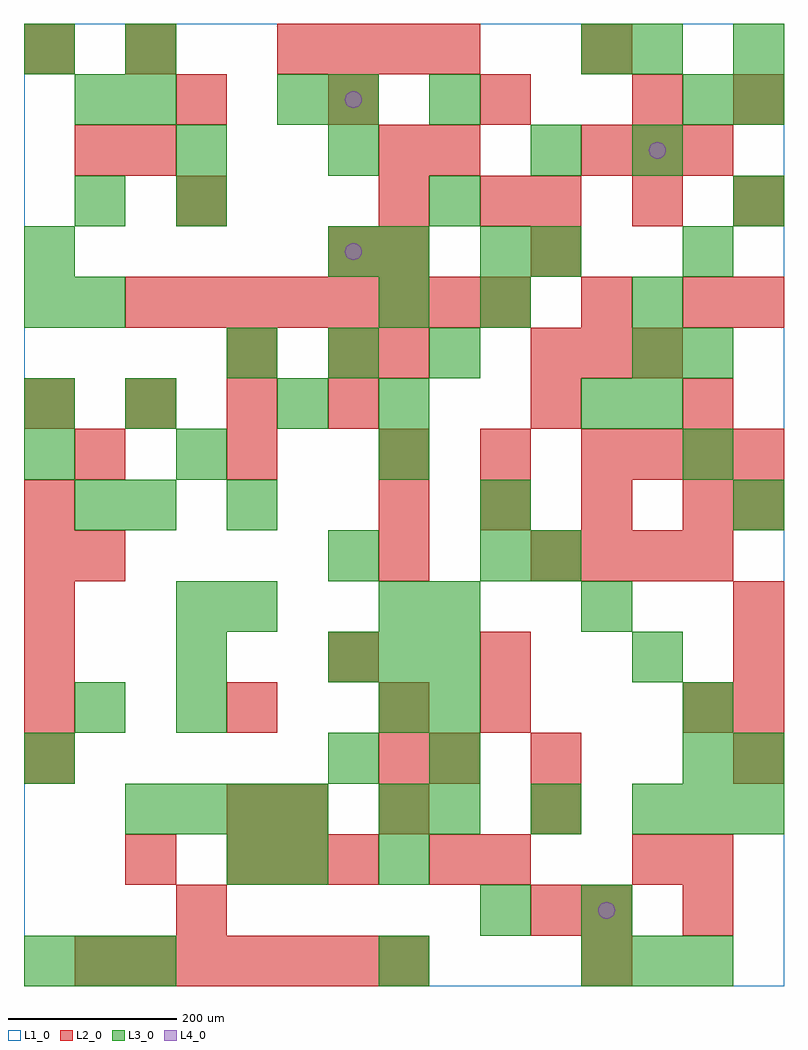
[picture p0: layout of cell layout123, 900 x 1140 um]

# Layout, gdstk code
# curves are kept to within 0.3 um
import gdstk
lib = gdstk.Library(unit=1e-6, precision=1e-09)
def R(c, l, rs):  # rectangles x0, y0, x1, y1
    for r in rs: c.add(gdstk.rectangle(r[:2], r[2:], *l))
def A(c, l, x, y, w, h, nx, ny, dx, dy):  # array of equal rectangles
    R(c, l, [(x+i*dx, y+j*dy, x+i*dx+w, y+j*dy+h) for i in range(nx) for j in range(ny)])
def P(c, l, *ps):  # polygons
    for p in ps: c.add(gdstk.Polygon(p, *l))
L1_0 = (1, 0)
L2_0 = (2, 0)
L3_0 = (3, 0)
L4_0 = (4, 0)

layout123 = lib.new_cell('layout123')
R(layout123, L1_0, [(0,0,900,1140)])
A(layout123, L2_0, 60, 0, 60, 60, 7, 1, 60, 0)
A(layout123, L2_0, 240, 120, 60, 60, 3, 1, 60, 0)
A(layout123, L2_0, 420, 180, 60, 60, 1, 3, 0, 60)
A(layout123, L2_0, 0, 240, 60, 60, 1, 6, 0, 60)
A(layout123, L2_0, 840, 240, 60, 60, 1, 4, 0, 60)
A(layout123, L2_0, 600, 480, 60, 60, 4, 1, 60, 0)
A(layout123, L2_0, 420, 540, 60, 60, 4, 1, 120, 0)
A(layout123, L2_0, 840, 540, 60, 60, 1, 3, 0, 240)
A(layout123, L2_0, 60, 600, 60, 60, 3, 1, 180, 0)
A(layout123, L2_0, 660, 600, 60, 60, 4, 1, 60, 0)
A(layout123, L2_0, 0, 660, 60, 60, 4, 1, 120, 0)
A(layout123, L2_0, 600, 720, 60, 60, 3, 1, 60, 0)
A(layout123, L2_0, 120, 780, 60, 60, 8, 1, 60, 0)
A(layout123, L2_0, 420, 840, 60, 60, 1, 3, 0, 60)
A(layout123, L2_0, 600, 900, 60, 60, 3, 1, 120, 0)
A(layout123, L2_0, 660, 960, 60, 60, 3, 1, 60, 0)
A(layout123, L2_0, 180, 1020, 60, 60, 4, 1, 180, 0)
A(layout123, L2_0, 300, 1080, 60, 60, 4, 1, 60, 0)
R(layout123, L2_0, [(660,0,720,60), (180,60,240,120), (600,60,660,120), (660,60,720,120), (780,60,840,120), (120,120,180,180), (480,120,540,180), (540,120,600,180), (720,120,780,180), (780,120,840,180), (240,180,300,240), (300,180,360,240), (600,180,660,240), (480,240,540,300), (600,240,660,300), (240,300,300,360), (540,300,600,360), (780,300,840,360), (360,360,420,420), (540,360,600,420), (60,480,120,540), (420,480,480,540), (540,600,600,660), (600,660,660,720), (780,660,840,720), (240,720,300,780), (360,720,420,780), (420,720,480,780), (660,780,720,840), (780,780,840,840), (360,840,420,900), (600,840,660,900), (180,900,240,960), (540,900,600,960), (60,960,120,1020), (120,960,180,1020), (480,960,540,1020), (0,1080,60,1140), (120,1080,180,1140), (660,1080,720,1140)])
A(layout123, L3_0, 0, 0, 60, 60, 3, 1, 60, 0)
A(layout123, L3_0, 660, 0, 60, 60, 3, 1, 60, 0)
A(layout123, L3_0, 120, 180, 60, 60, 4, 1, 60, 0)
A(layout123, L3_0, 420, 180, 60, 60, 1, 3, 0, 120)
A(layout123, L3_0, 480, 180, 60, 60, 3, 1, 120, 0)
A(layout123, L3_0, 780, 180, 60, 60, 1, 3, 0, 60)
A(layout123, L3_0, 60, 300, 60, 60, 1, 3, 0, 240)
A(layout123, L3_0, 180, 300, 60, 60, 1, 3, 0, 60)
A(layout123, L3_0, 360, 360, 60, 60, 3, 1, 60, 0)
A(layout123, L3_0, 240, 540, 60, 60, 3, 1, 300, 0)
A(layout123, L3_0, 780, 600, 60, 60, 1, 3, 0, 120)
A(layout123, L3_0, 720, 660, 60, 60, 1, 3, 0, 60)
A(layout123, L3_0, 240, 720, 60, 60, 3, 1, 120, 0)
R(layout123, L3_0, [(420,0,480,60), (540,60,600,120), (660,60,720,120), (240,120,300,180), (300,120,360,180), (420,120,480,180), (840,180,900,240), (0,240,60,300), (360,240,420,300), (480,240,540,300), (840,240,900,300), (480,300,540,360), (720,360,780,420), (240,420,300,480), (480,420,540,480), (660,420,720,480), (360,480,420,540), (540,480,600,540), (600,480,660,540), (120,540,180,600), (0,600,60,660), (180,600,240,660), (420,600,480,660), (0,660,60,720), (120,660,180,720), (300,660,360,720), (420,660,480,720), (660,660,720,720), (0,780,60,840), (420,780,480,840), (540,780,600,840), (0,840,60,900), (360,840,420,900), (420,840,480,900), (540,840,600,900), (600,840,660,900), (60,900,120,960), (180,900,240,960), (480,900,540,960), (840,900,900,960), (180,960,240,1020), (360,960,420,1020), (600,960,660,1020), (720,960,780,1020), (60,1020,120,1080), (120,1020,180,1080), (300,1020,360,1080), (360,1020,420,1080), (480,1020,540,1080), (780,1020,840,1080), (840,1020,900,1080), (0,1080,60,1140), (120,1080,180,1140), (660,1080,720,1140), (720,1080,780,1140), (840,1080,900,1140)])
P(layout123, L4_0, [(400,870),(399.239,873.827),(397.071,877.071),(393.827,879.239),(390,880),(386.173,879.239),(382.929,877.071),(380.761,873.827),(380,870),(380.761,866.173),(382.929,862.929),(386.173,860.761),(390,860),(393.827,860.761),(397.071,862.929),(399.239,866.173)],
  [(400,1050),(399.239,1053.827),(397.071,1057.071),(393.827,1059.239),(390,1060),(386.173,1059.239),(382.929,1057.071),(380.761,1053.827),(380,1050),(380.761,1046.173),(382.929,1042.929),(386.173,1040.761),(390,1040),(393.827,1040.761),(397.071,1042.929),(399.239,1046.173)],
  [(700,90),(699.239,93.827),(697.071,97.071),(693.827,99.239),(690,100),(686.173,99.239),(682.929,97.071),(680.761,93.827),(680,90),(680.761,86.173),(682.929,82.929),(686.173,80.761),(690,80),(693.827,80.761),(697.071,82.929),(699.239,86.173)],
  [(760,990),(759.239,993.827),(757.071,997.071),(753.827,999.239),(750,1000),(746.173,999.239),(742.929,997.071),(740.761,993.827),(740,990),(740.761,986.173),(742.929,982.929),(746.173,980.761),(750,980),(753.827,980.761),(757.071,982.929),(759.239,986.173)])

lib.write_gds('layout123.gds')
